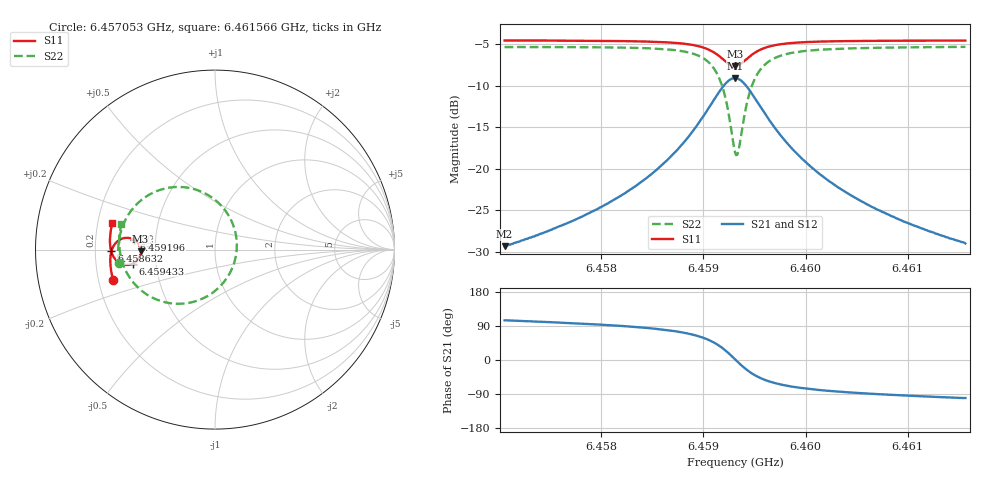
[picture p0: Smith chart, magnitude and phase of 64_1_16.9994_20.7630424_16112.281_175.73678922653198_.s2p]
#  HZ  S  RI  R  50.00
! Rohde & Schwarz Vector Network Analyzer
! Rohde-Schwarz,ZNB20-2Port,1311601062101988,3.16
! Created: UTC 3/20/2024, 10:54:55 PM
! freq[Hz]  re:S11  im:S11  re:S21  im:S21  re:S12  im:S12  re:S22  im:S22
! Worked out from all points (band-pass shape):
!   401 points, 6.457053 GHz to 6.461566 GHz, reference 50 ohm
!   highest |S21| = -9.08 dB at 6.459309 GHz (marker M1); lowest = -29.3 dB at 6.457053 GHz (marker M2)
!   |S21| within 3 dB of the highest: 6.459083 GHz to 6.459535 GHz (451.9 kHz wide, 0.007 % of centre)
!   lowest |S11| = -7.6 dB at 6.459309 GHz (marker M3), VSWR 2.42, Z = 20.7 - j0.512 ohm
!   |S11| at or under -10 dB: nowhere
!   |S22| runs from -18.3 to -5.3 dB; largest |S21 - S12| = 0.014
!   S11 on the Smith chart (normalised r, x): 6.457053 GHz: 0.26, -0.13; 6.458632 GHz: 0.27, -0.01; 6.459196 GHz: 0.38, +0.05; 6.459433 GHz: 0.37, -0.07; 6.461566 GHz: 0.26, +0.12
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6.457053e9  -0.5676 -0.1677  -0.0086 0.0332  -0.00692 0.0332  -0.5347 -0.0771
6.4578088e9  -0.581 -0.1013  -0.00517 0.0513  -0.00269 0.0508  -0.5388 0.0125
6.4582149e9  -0.5835 -0.0603  0.000578 0.0705  0.00375 0.0691  -0.5302 0.0776
6.4585647e9  -0.5793 -0.018  0.0151 0.1005  0.0192 0.0976  -0.5032 0.1577
6.4586324e9  -0.577 -0.0085  0.0208 0.109  0.0247 0.1058  -0.4928 0.1777
6.4588241e9  -0.5641 0.0219  0.0479 0.1403  0.052 0.1353  -0.4415 0.2472
6.4589708e9  -0.5408 0.0483  0.0943 0.1712  0.0974 0.1643  -0.356 0.3116
6.4591062e9  -0.496 0.0656  0.1833 0.1872  0.1842 0.18  -0.1935 0.3489
6.4591964e9  -0.4506 0.0546  0.2745 0.1546  0.2748 0.1489  -0.0248 0.2955
6.4592641e9  -0.4212 0.0215  0.3355 0.081  0.3377 0.0757  0.0907 0.1621
6.4593092e9  -0.4145 -0.0102  0.3513 0.0116  0.3552 0.0048  0.1217 0.0328
6.4593431e9  -0.4186 -0.0345  0.3448 -0.0416  0.3489 -0.0509  0.1088 -0.0682
6.4593882e9  -0.4346 -0.061  0.3154 -0.102  0.3177 -0.1142  0.0486 -0.1822
6.4594333e9  -0.457 -0.0775  0.2724 -0.1432  0.2715 -0.1567  -0.0385 -0.257
6.4595236e9  -0.5012 -0.0845  0.1862 -0.1741  0.1799 -0.186  -0.2101 -0.3018
6.4595913e9  -0.5258 -0.0772  0.1372 -0.172  0.1291 -0.1809  -0.3044 -0.2859
6.4596702e9  -0.5456 -0.0641  0.0971 -0.1596  0.0886 -0.1659  -0.3792 -0.2504
6.4598282e9  -0.5676 -0.0364  0.0518 -0.1311  0.044 -0.1338  -0.4602 -0.1772
6.4600651e9  -0.5805 -0.000896  0.0224 -0.0988  0.0165 -0.0995  -0.5081 -0.0937
6.4604035e9  -0.5853 0.0399  0.00627 -0.0717  0.00212 -0.0712  -0.5295 -0.0142
6.4608209e9  -0.5836 0.082  -0.00157 -0.0529  -0.00438 -0.0519  -0.5335 0.0539
6.4615655e9  -0.572 0.1484  -0.00637 -0.035  -0.00838 -0.0342  -0.5224 0.1429
